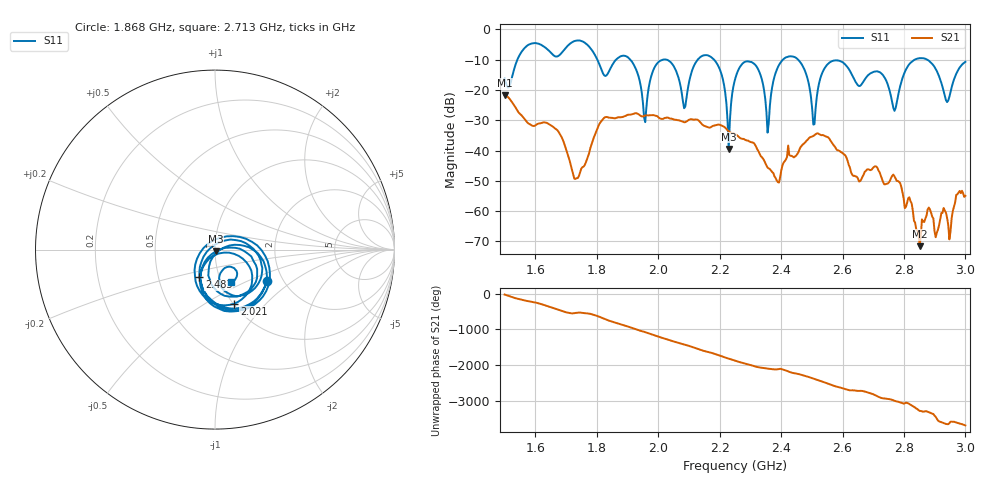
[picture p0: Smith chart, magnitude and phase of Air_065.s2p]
# HZ S RI R 50
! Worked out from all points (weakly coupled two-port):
!   404 points, 1.5 GHz to 3 GHz, reference 50 ohm
!   highest |S21| = -21.75 dB at 1.5 GHz (marker M1); lowest = -71.6 dB at 2.851 GHz (marker M2)
!   lowest |S11| = -39.5 dB at 2.23 GHz (marker M3), VSWR 1.02, Z = 50.5 - j0.942 ohm
!   |S11| at or under -10 dB: 2.182 GHz to 2.406 GHz (223.9 MHz wide, 9.76 % of centre); 2.456 GHz to 2.835 GHz (379 MHz wide, 14.3 % of centre); 2.876 GHz to end of sweep (the widest 3 of 7)
!   S12 and S22 are empty: the file has one direction only
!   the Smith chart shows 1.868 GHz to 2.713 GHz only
!   S11 on the Smith chart (normalised r, x): 1.868 GHz: 1.65, -0.65; 2.021 GHz: 1.01, -0.68; 2.483 GHz: 0.80, -0.26; 2.713 GHz: 1.11, -0.42
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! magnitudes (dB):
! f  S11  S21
! 1.5 GHz  -16.3  -21.8
! 1.578 GHz  -5.0  -31.1
! 1.753 GHz  -3.9  -45.5
! 1.868 GHz  -9.5  -29.0
! 1.958 GHz  -30.6  -28.4
! 2.002 GHz  -10.6  -29.2
! 2.021 GHz  -9.9  -29.2
! 2.084 GHz  -26.0  -30.6
! 2.177 GHz  -9.5  -31.9
! 2.23 GHz  -39.5  -33.7
! 2.252 GHz  -15.9  -34.6
! 2.315 GHz  -11.6  -38.1
! 2.356 GHz  -34.1  -45.6
! 2.39 GHz  -12.5  -50.4
! 2.483 GHz  -15.0  -36.8
! 2.501 GHz  -26.3  -35.4
! 2.561 GHz  -10.7  -36.7
! 2.713 GHz  -13.8  -45.7
! 2.751 GHz  -19.3  -50.6
! 2.851 GHz  -9.5  -71.6
! 2.94 GHz  -24.0  -62.3
! 3 GHz  -10.7  -55.0
